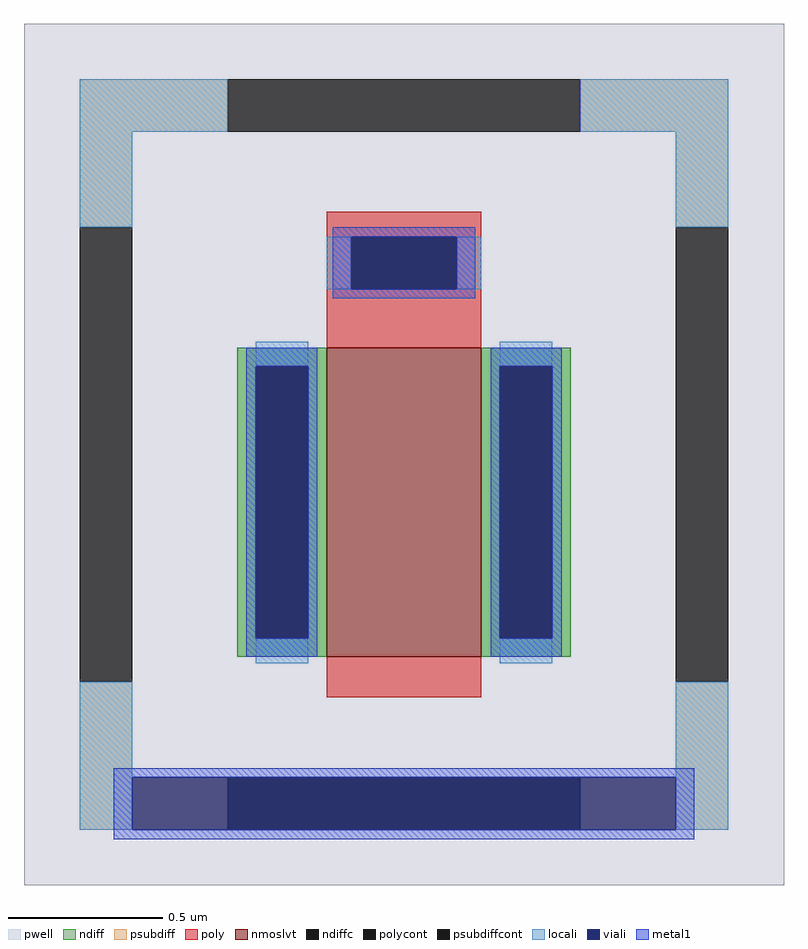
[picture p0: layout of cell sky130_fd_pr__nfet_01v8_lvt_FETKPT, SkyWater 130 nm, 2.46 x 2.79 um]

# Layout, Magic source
magic
tech sky130A
magscale 1 2
<< pwell >>
rect -246 -279 246 279
<< nmoslvt >>
rect -50 -131 50 69
<< ndiff >>
rect -108 57 -50 69
rect -108 -119 -96 57
rect -62 -119 -50 57
rect -108 -131 -50 -119
rect 50 57 108 69
rect 50 -119 62 57
rect 96 -119 108 57
rect 50 -131 108 -119
<< ndiffc >>
rect -96 -119 -62 57
rect 62 -119 96 57
<< psubdiff >>
rect -210 209 -114 243
rect 114 209 210 243
rect -210 147 -176 209
rect 176 147 210 209
rect -210 -209 -176 -147
rect 176 -209 210 -147
rect -210 -243 -114 -209
rect 114 -243 210 -209
<< psubdiffcont >>
rect -114 209 114 243
rect -210 -147 -176 147
rect 176 -147 210 147
rect -114 -243 114 -209
<< poly >>
rect -50 141 50 157
rect -50 107 -34 141
rect 34 107 50 141
rect -50 69 50 107
rect -50 -157 50 -131
<< polycont >>
rect -34 107 34 141
<< locali >>
rect -210 209 -114 243
rect 114 209 210 243
rect -210 147 -176 209
rect 176 147 210 209
rect -50 107 -34 141
rect 34 107 50 141
rect -96 57 -62 73
rect -96 -135 -62 -119
rect 62 57 96 73
rect 62 -135 96 -119
rect -210 -243 -176 -147
rect 176 -243 210 -147
<< viali >>
rect -34 107 34 141
rect -96 -119 -62 57
rect 62 -119 96 57
rect -176 -243 -114 -209
rect -114 -243 114 -209
rect 114 -243 176 -209
<< metal1 >>
rect -46 141 46 147
rect -46 107 -34 141
rect 34 107 46 141
rect -46 101 46 107
rect -102 57 -56 69
rect -102 -119 -96 57
rect -62 -119 -56 57
rect -102 -131 -56 -119
rect 56 57 102 69
rect 56 -119 62 57
rect 96 -119 102 57
rect 56 -131 102 -119
rect -188 -209 188 -203
rect -188 -243 -176 -209
rect 176 -243 188 -209
rect -188 -249 188 -243
<< properties >>
string FIXED_BBOX -193 -226 193 226
string gencell sky130_fd_pr__nfet_01v8_lvt
string library sky130
string parameters w 1 l 0.5 m 1 nf 1 diffcov 100 polycov 100 guard 1 glc 1 grc 1 gtc 1 gbc 1 tbcov 100 rlcov 100 topc 1 botc 0 poverlap 0 doverlap 1 lmin 0.15 wmin 0.42 compatible {sky130_fd_pr__nfet_01v8 sky130_fd_pr__nfet_01v8_lvt  sky130_fd_bs_flash__special_sonosfet_star  sky130_fd_pr__nfet_g5v0d10v5 sky130_fd_pr__nfet_05v0_nvt  sky130_fd_pr__nfet_03v3_nvt} full_metal 1 viasrc 100 viadrn 100 viagate 100 viagb 100 viagr 0 viagl 0 viagt 0
<< end >>
